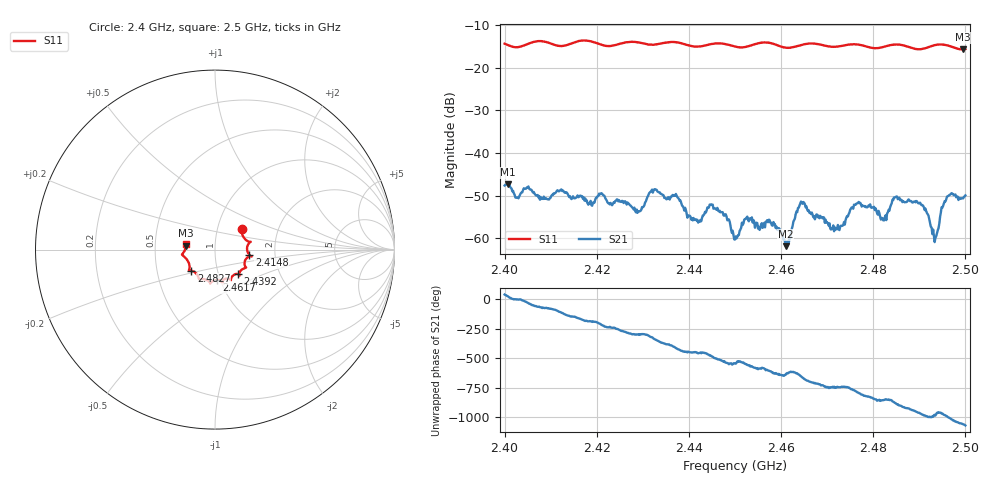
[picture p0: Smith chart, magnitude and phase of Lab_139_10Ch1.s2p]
# Hz S RI R 50
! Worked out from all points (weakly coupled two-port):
!   601 points, 2.4 GHz to 2.5 GHz, reference 50 ohm
!   highest |S21| = -47.40 dB at 2.4007 GHz (marker M1); lowest = -61.9 dB at 2.461 GHz (marker M2)
!   lowest |S11| = -15.7 dB at 2.4995 GHz (marker M3), VSWR 1.39, Z = 36 + j1.64 ohm
!   |S11| at or under -10 dB: start of sweep to end of sweep
!   S12 and S22 are empty: the file has one direction only
!   S11 on the Smith chart (normalised r, x): 2.4 GHz: 1.31, +0.31; 2.4148 GHz: 1.47, -0.09; 2.4392 GHz: 1.24, -0.35; 2.4617 GHz: 0.96, -0.34; 2.4827 GHz: 0.75, -0.18; 2.5 GHz: 0.72, +0.05
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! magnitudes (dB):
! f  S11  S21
! 2.4 GHz  -14.4  -47.7
! 2.4007 GHz  -14.7  -47.4
! 2.4148 GHz  -14.2  -50.2
! 2.4167 GHz  -13.7  -50.2
! 2.429 GHz  -14.1  -53.6
! 2.4333 GHz  -14.5  -49.2
! 2.4392 GHz  -14.6  -52.9
! 2.445 GHz  -14.5  -52.2
! 2.45 GHz  -15.1  -60.3
! 2.4532 GHz  -14.9  -55.4
! 2.461 GHz  -15.4  -61.9
! 2.4617 GHz  -15.4  -61.1
! 2.4643 GHz  -14.7  -51.4
! 2.4667 GHz  -14.4  -54.0
! 2.4717 GHz  -15.2  -57.5
! 2.4827 GHz  -15.0  -54.6
! 2.4833 GHz  -14.8  -53.4
! 2.4898 GHz  -15.7  -51.8
! 2.4933 GHz  -14.8  -60.9
! 2.496 GHz  -14.8  -50.3
! 2.4995 GHz  -15.7  -50.7
! 2.5 GHz  -15.7  -50.0
